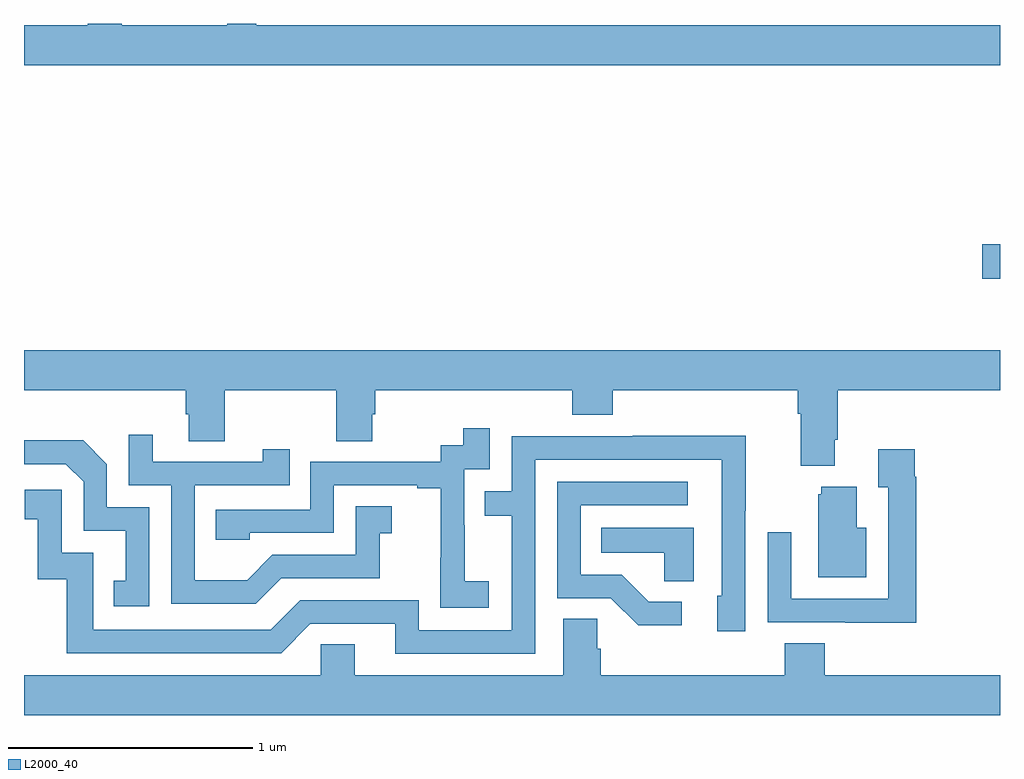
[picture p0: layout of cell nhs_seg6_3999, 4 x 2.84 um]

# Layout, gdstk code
import gdstk
lib = gdstk.Library(unit=1e-6, precision=1e-09)
def R(c, l, rs):  # rectangles x0, y0, x1, y1
    for r in rs: c.add(gdstk.rectangle(r[:2], r[2:], *l))
def P(c, l, *ps):  # polygons
    for p in ps: c.add(gdstk.Polygon(p, *l))
L2000_40 = (2000, 40)

nhs_seg6_3999 = lib.new_cell('nhs_seg6_3999')
R(nhs_seg6_3999, L2000_40, [(350.928,954.454,351,954.596)])
P(nhs_seg6_3999, L2000_40, [(351,955.492),(347.951,955.492),(347.951,955.5),(347.834,955.5),(347.834,955.492),(347.401,955.492),(347.401,955.5),(347.261,955.5),(347.261,955.492),(347,955.492),(347,955.328),(351,955.328)],
  [(350.323,953.794),(350.336,953.794),(350.336,953.996),(351,953.996),(351,954.16),(347,954.16),(347,953.996),(347.663,953.996),(347.663,953.898),(347.675,953.898),(347.675,953.788),(347.823,953.788),(347.823,953.996),(348.28,953.996),(348.28,953.788),(348.427,953.788),(348.427,953.898),(348.44,953.898),(348.44,953.996),(349.247,953.996),(349.247,953.897),(349.412,953.897),(349.412,953.996),(350.171,953.996),(350.171,953.9),(350.183,953.9),(350.183,953.687),(350.323,953.687)],
  [(348.904,953.215),(348.806,953.215),(348.806,953.444),(348.804,953.444),(348.804,953.673),(348.909,953.673),(348.909,953.842),(348.801,953.842),(348.801,953.772),(348.708,953.772),(348.708,953.703),(348.174,953.703),(348.174,953.508),(347.785,953.508),(347.785,953.385),(347.925,953.385),(347.925,953.412),(348.27,953.412),(348.27,953.607),(348.611,953.607),(348.611,953.595),(348.707,953.595),(348.707,953.311),(348.706,953.311),(348.706,953.105),(348.904,953.105)],
  [(348.055,953.226),(348.459,953.226),(348.459,953.411),(348.508,953.411),(348.508,953.521),(348.36,953.521),(348.36,953.322),(348.018,953.322),(347.914,953.218),(347.7,953.218),(347.7,953.607),(348.089,953.607),(348.089,953.755),(347.978,953.755),(347.978,953.703),(347.527,953.703),(347.527,953.815),(347.43,953.815),(347.43,953.607),(347.604,953.607),(347.604,953.121),(347.95,953.121)],
  [(349.095,953.712),(349.86,953.712),(349.86,953.154),(349.841,953.154),(349.841,953.01),(349.956,953.01),(349.956,953.503),(349.959,953.503),(349.959,953.81),(349.495,953.81),(349.495,953.808),(348.999,953.808),(348.999,953.583),(348.889,953.583),(348.889,953.482),(348.999,953.482),(348.999,953.013),(348.618,953.013),(348.618,953.136),(348.132,953.136),(348.012,953.016),(347.283,953.016),(347.283,953.331),(347.154,953.331),(347.154,953.59),(347.004,953.59),(347.004,953.469),(347.057,953.469),(347.057,953.223),(347.175,953.223),(347.175,952.92),(348.054,952.92),(348.174,953.04),(348.521,953.04),(348.521,952.917),(349.095,952.917)],
  [(347.514,953.517),(347.34,953.517),(347.34,953.694),(347.242,953.792),(347,953.792),(347,953.694),(347.172,953.694),(347.244,953.622),(347.244,953.421),(347.417,953.421),(347.417,953.217),(347.368,953.217),(347.368,953.112),(347.514,953.112)],
  [(350.657,953.642),(350.65,953.642),(350.65,953.755),(350.501,953.755),(350.501,953.599),(350.541,953.599),(350.541,953.142),(350.145,953.142),(350.145,953.416),(350.049,953.416),(350.049,953.046),(350.365,953.046),(350.365,953.045),(350.657,953.045)],
  [(349.696,953.13),(349.561,953.13),(349.45,953.241),(349.281,953.241),(349.281,953.526),(349.72,953.526),(349.72,953.622),(349.185,953.622),(349.185,953.145),(349.404,953.145),(349.517,953.033),(349.696,953.033)],
  [(350.452,953.434),(350.413,953.434),(350.413,953.602),(350.267,953.602),(350.267,953.571),(350.255,953.571),(350.255,953.231),(350.452,953.231)],
  [(349.744,953.434),(349.366,953.434),(349.366,953.33),(349.623,953.33),(349.623,953.215),(349.744,953.215)],
  [(351,952.828),(350.282,952.828),(350.282,952.961),(350.117,952.961),(350.117,952.828),(349.364,952.828),(349.364,952.937),(349.35,952.937),(349.35,953.06),(349.211,953.06),(349.211,952.828),(348.355,952.828),(348.355,952.955),(348.216,952.955),(348.216,952.828),(347,952.828),(347,952.664),(351,952.664)])

lib.write_gds('nhs_seg6_3999.gds')
